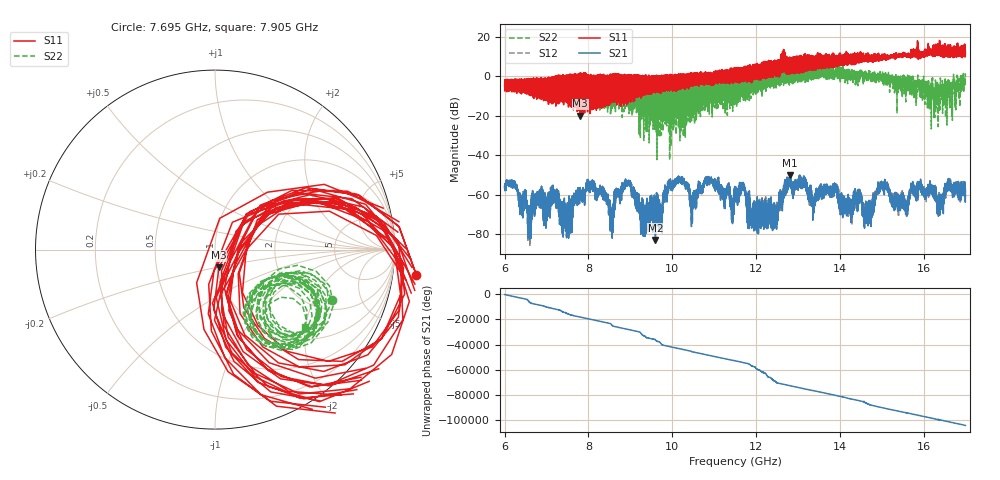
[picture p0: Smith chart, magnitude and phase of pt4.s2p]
#  HZ  S  RI  R  50.00
! Rohde & Schwarz Vector Network Analyzer
! Rohde-Schwarz,ZNA67-2Port,1332450062101215,3.01
! Created: UTC 10/26/2026, 3:59:02 PM
! freq[Hz]  re:S11  im:S11  re:S21  im:S21  re:S12  im:S12  re:S22  im:S22
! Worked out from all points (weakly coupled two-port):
!   11001 points, 6 GHz to 17 GHz, reference 50 ohm
!   highest |S21| = -49.93 dB at 12.81 GHz (marker M1); lowest = -82.8 dB at 9.6 GHz (marker M2)
!   lowest |S11| = -19.8 dB at 7.805 GHz (marker M3), VSWR 1.23, Z = 51.2 - j10.3 ohm
!   |S11| at or under -10 dB: 6.78995 GHz to 6.791165 GHz (1.215 MHz wide, 0.0179 % of centre); 7.908992 GHz to 7.911092 GHz (2.1 MHz wide, 0.0265 % of centre); 8.036963 GHz to 8.039111 GHz (2.148 MHz wide, 0.0267 % of centre) (the widest 3 of 213)
!   |S22| runs from -42.2 to 5.3 dB; largest |S21 - S12| = 0.0014
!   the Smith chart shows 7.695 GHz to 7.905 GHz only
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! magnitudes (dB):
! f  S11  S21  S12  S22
! 6 GHz  -5.0  -55.4  -55.4  -4.6
! 6.585 GHz  -1.6  -67.8  -67.2  -4.4
! 7.805 GHz  -19.8  -57.0  -56.7  -9.8
! 7.834 GHz  1.5  -58.7  -58.4  -3.4
! 8.108 GHz  -16.6  -52.9  -52.9  -12.9
! 8.553 GHz  -7.0  -73.0  -70.9  -11.6
! 8.952 GHz  -0.3  -54.8  -54.6  -4.9
! 9.345 GHz  -6.6  -69.2  -68.6  -16.3
! 9.6 GHz  -7.4  -82.8  -79.9  -7.8
! 9.667 GHz  -0.7  -64.7  -64.4  -4.8
! 10.18 GHz  -0.7  -52.4  -52.6  -2.1
! 10.48 GHz  -1.4  -64.0  -62.8  -19.8
! 10.83 GHz  1.5  -52.8  -53.3  -1.9
! 11.5 GHz  -2.3  -59.1  -58.6  -2.3
! 12.42 GHz  0.2  -69.2  -70.7  -1.0
! 12.81 GHz  9.7  -49.9  -50.3  2.0
! 13.33 GHz  4.2  -61.4  -62.2  -1.1
! 13.89 GHz  5.6  -57.1  -57.5  0.1
! 14.63 GHz  9.1  -69.9  -69.0  2.0
! 15.17 GHz  10.1  -57.5  -57.1  -0.5
! 16.37 GHz  11.2  -65.4  -65.7  -8.3
! 17 GHz  12.9  -58.1  -56.4  1.0
